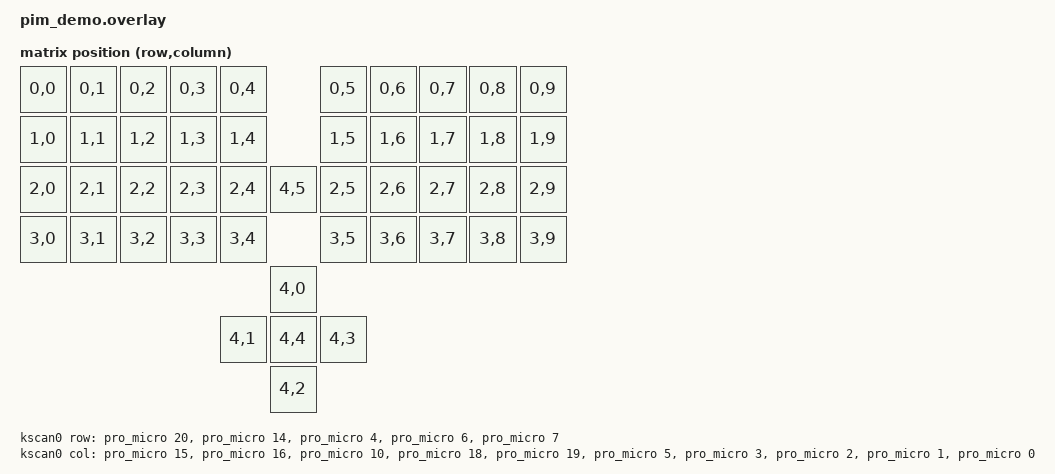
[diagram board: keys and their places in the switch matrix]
/*
 * Copyright (c) 2021 Tom Butcher
 *
 * SPDX-License-Identifier: MIT
 */

#include <dt-bindings/zmk/matrix_transform.h>

/ {
	chosen {
		zmk,kscan = &kscan0;
		zmk,matrix_transform = &default_transform;
	};

	kscan0: kscan_0 {
		compatible = "zmk,kscan-gpio-matrix";
		label = "KSCAN";
		diode-direction = "col2row";

		col-gpios
			= <&pro_micro 15 GPIO_ACTIVE_HIGH>
			, <&pro_micro 16 GPIO_ACTIVE_HIGH>
			, <&pro_micro 10 GPIO_ACTIVE_HIGH>
			, <&pro_micro 18 GPIO_ACTIVE_HIGH>
			, <&pro_micro 19 GPIO_ACTIVE_HIGH>
			, <&pro_micro 5 GPIO_ACTIVE_HIGH>
			, <&pro_micro 3 GPIO_ACTIVE_HIGH>
			, <&pro_micro 2 GPIO_ACTIVE_HIGH>
			, <&pro_micro 1 GPIO_ACTIVE_HIGH>
			, <&pro_micro 0 GPIO_ACTIVE_HIGH>
			;

		row-gpios
			= <&pro_micro 20 (GPIO_ACTIVE_HIGH | GPIO_PULL_DOWN)>
			, <&pro_micro 14 (GPIO_ACTIVE_HIGH | GPIO_PULL_DOWN)>
			, <&pro_micro 4 (GPIO_ACTIVE_HIGH | GPIO_PULL_DOWN)>
			, <&pro_micro 6 (GPIO_ACTIVE_HIGH | GPIO_PULL_DOWN)>
            , <&pro_micro 7 (GPIO_ACTIVE_HIGH | GPIO_PULL_DOWN)>
			;
	};

    	default_transform: keymap_transform_0 {
		compatible = "zmk,matrix-transform";
		columns = <10>;
		rows = <5>;
// | MX1  | MX2  | MX3  | MX4  | MX5  |				                       MX6  | MX7  | MX8  | MX9  | MX10 |
// | MX11 | MX12 | MX13 | MX14 | MX15 |				                       MX16 | MX17 | MX18 | MX19 | MX20 |
// | MX21 | MX22 | MX23 | MX24 | MX25 |               Rot1 |               MX26 | MX27 | MX28 | MX29 | MX30 |
// | MX31 |        MX32 | MX33 | MX34 | MX35 |      	            MX36 | MX37 | MX38 | MX39 |	  	   MX40 |
//                                    | JSLt | JSUp | JSIn | JSDn | JSRt |

        map = <

		// ╭─────────┬─────────┬─────────┬─────────┬─────────╮ 					╭─────────┬─────────┬─────────┬─────────┬─────────╮
             RC(0,0)   RC(0,1)   RC(0,2)   RC(0,3)   RC(0,4) 			          RC(0,5)   RC(0,6)   RC(0,7)   RC(0,8)   RC(0,9)
        // ├─────────┼─────────┼─────────┼─────────┼─────────┤ 					├─────────┼─────────┼─────────┼─────────┼─────────┤
             RC(1,0)   RC(1,1)   RC(1,2)   RC(1,3)   RC(1,4) 			          RC(1,5)   RC(1,6)   RC(1,7)   RC(1,8)   RC(1,9)
        // ├─────────┼─────────┼─────────┼─────────┼─────────┤	  ╭────────╮    ├─────────┼─────────┼─────────┼─────────┼─────────┤
             RC(2,0)   RC(2,1)   RC(2,2)   RC(2,3)   RC(2,4)	    RC(4,5)       RC(2,5)   RC(2,6)   RC(2,7)   RC(2,8)   RC(2,9) 
        // ├─────────┴──┬──────┼─────────┼─────────┼─────────┬────╰───╮╭───╯────┬─────────┼─────────┼─────────┴──────┬──┴─────────┤
             RC(3,0)             RC(3,1)   RC(3,2)   RC(3,3)   RC(3,4)   RC(3,5)  RC(3,6)   RC(3,7)   RC(3,8)             RC(3,9) 
        // ╰────────────╯      ╰─────────┴─────────┴─────────┴────────╯╰────────┴─────────┴─────────┴─────────╯		 ╰────────────╯
		//													      ╭────────╮
		  															RC(4,0)
		//									   		     ╭────────┼────────┼────────╮
		  											   	   RC(4,1)  RC(4,4)	 RC(4,3)
		//									   		     ╰────────┼────────┼────────╯
		  															RC(4,2)
		//													      ╰────────╯                                  
        >;
	};

// 	encoder: encoder {
// 		compatible = "alps,ec11";
// 		label = "ENCODER";
// 		a-gpios = <&pro_micro 9 (GPIO_ACTIVE_HIGH | GPIO_PULL_UP)>;
// 		b-gpios = <&pro_micro 10 (GPIO_ACTIVE_HIGH | GPIO_PULL_UP)>;
// 		resolution = <2>;
// 		status = "okay";
// 	};

// // OLED Pins are 12 (SDA) and 13 (SCL)

// 	sensors {
// 		compatible = "zmk,keymap-sensors";
// 		sensors = <&encoder>;
// 	};
};

// &pro_micro_i2c {
// 	status = "okay";
// 	trackball_pim447@a {
// 		compatible = "pimoroni,trackball_pim447";
// 		reg = <0xa>;
// 		label = "TRACKBALL_PIM447";

// 		move-factor = <2>;
// 		invert-move-x;
// 		invert-move-y;
// 		scroll-divisor = <2>;
// 		invert-scroll-x;
// 		invert-scroll-y;
// 	};
// };
